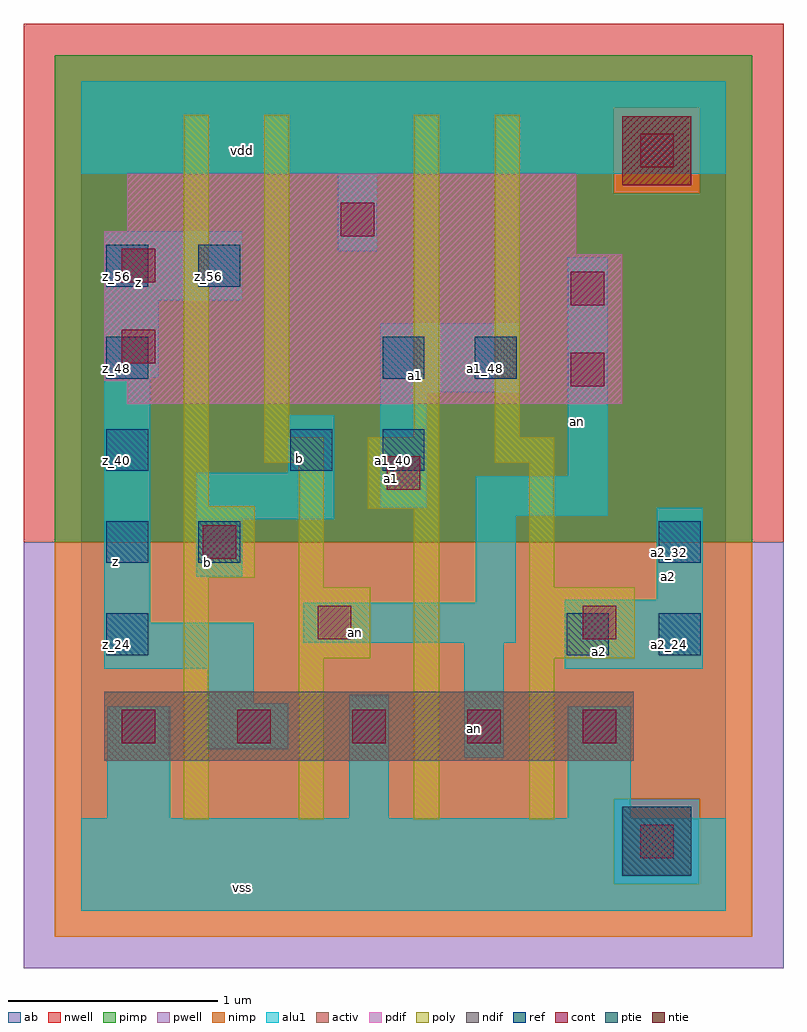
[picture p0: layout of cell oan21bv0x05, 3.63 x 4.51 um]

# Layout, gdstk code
import gdstk
lib = gdstk.Library(unit=1e-6, precision=2.5e-09)
def R(c, l, rs):  # rectangles x0, y0, x1, y1
    for r in rs: c.add(gdstk.rectangle(r[:2], r[2:], *l))
def A(c, l, x, y, w, h, nx, ny, dx, dy):  # array of equal rectangles
    R(c, l, [(x+i*dx, y+j*dy, x+i*dx+w, y+j*dy+h) for i in range(nx) for j in range(ny)])
ndif = (3, 0)
pdif = (4, 0)
ntie = (5, 0)
ptie = (6, 0)
ref = (24, 0)
cont = (25, 0)
pwell = (41, 0)
nwell = (42, 0)
activ = (43, 0)
pimp = (44, 0)
nimp = (45, 0)
poly = (46, 0)
alu1 = (49, 0)
ab = (63, 0)

oan21bv0x05 = lib.new_cell('oan21bv0x05')
R(oan21bv0x05, ndif, [(0.11,0.715,2.64,1.045)])
R(oan21bv0x05, pdif, [(0.22,2.42,2.585,2.53), (0.11,2.53,2.585,3.135), (0.11,3.135,2.365,3.245), (0.22,3.245,2.365,3.52)])
R(oan21bv0x05, ntie, [(2.585,3.465,2.915,3.795)])
R(oan21bv0x05, ptie, [(2.585,0.165,2.915,0.495)])
A(oan21bv0x05, ref, 0.12, 1.22, 0.2, 0.2, 1, 5, 0, 0.44)
R(oan21bv0x05, ref, [(2.32,1.22,2.52,1.42), (2.76,1.22,2.96,1.42), (0.56,1.66,0.76,1.86), (2.76,1.66,2.96,1.86), (1,2.1,1.2,2.3), (1.44,2.1,1.64,2.3), (1.44,2.54,1.64,2.74), (1.88,2.54,2.08,2.74), (0.56,2.98,0.76,3.18)])
A(oan21bv0x05, cont, 0.195, 0.8, 0.16, 0.16, 5, 1, 0.55, 0)
R(oan21bv0x05, cont, [(2.67,0.25,2.83,0.41), (1.13,1.295,1.29,1.455), (2.395,1.295,2.555,1.455), (0.58,1.68,0.74,1.84), (1.46,2.01,1.62,2.17), (2.34,2.505,2.5,2.665), (0.195,2.615,0.355,2.775), (2.34,2.89,2.5,3.05), (0.195,3,0.355,3.16), (1.24,3.22,1.4,3.38), (2.67,3.55,2.83,3.71)])
R(oan21bv0x05, pwell, [(-0.275,-0.275,3.355,1.76)])
R(oan21bv0x05, nwell, [(-0.275,1.76,3.355,4.235)])
R(oan21bv0x05, activ, [(2.585,0.165,2.915,0.495), (0.11,0.715,2.64,1.045), (0.22,2.42,2.585,2.53), (0.11,2.53,2.585,3.135), (0.11,3.135,2.365,3.245), (0.22,3.245,2.365,3.52), (2.585,3.465,2.915,3.795)])
R(oan21bv0x05, pimp, [(2.545,0.125,2.955,0.535), (-0.125,1.76,3.205,3.425), (-0.125,3.425,2.545,3.835), (2.955,3.425,3.205,3.835), (-0.125,3.835,3.205,4.085)])
R(oan21bv0x05, nimp, [(-0.125,-0.125,3.205,0.125), (-0.125,0.125,2.545,0.535), (2.955,0.125,3.205,0.535), (-0.125,0.535,3.205,1.76), (2.545,3.425,2.955,3.835)])
R(oan21bv0x05, poly, [(0.49,0.435,0.61,1.59), (1.04,0.435,1.16,1.205), (1.59,0.435,1.71,1.92), (2.14,0.435,2.26,1.205), (1.04,1.205,1.38,1.545), (2.14,1.205,2.645,1.545), (1.04,1.545,1.16,2.14), (2.14,1.545,2.26,2.14), (0.49,1.59,0.83,1.93), (1.37,1.92,1.71,2.26), (0.49,1.93,0.61,3.8), (0.875,2.14,1.16,2.26), (1.975,2.14,2.26,2.26), (0.875,2.26,0.995,3.8), (1.59,2.26,1.71,3.8), (1.975,2.26,2.095,3.8)])
R(oan21bv0x05, alu1, [(0,0,3.08,0.44), (0.125,0.44,0.425,0.975), (1.28,0.44,1.47,1.03), (2.325,0.44,2.625,0.975), (1.83,0.73,2.02,1.28), (0.605,0.77,0.99,0.99), (0.605,0.99,0.825,1.155), (0.11,1.155,0.825,1.375), (2.31,1.155,2.97,1.485), (1.06,1.28,2.075,1.47), (0.11,1.375,0.33,2.545), (1.885,1.47,2.075,1.885), (2.75,1.485,2.97,1.925), (0.55,1.595,0.77,1.87), (0.55,1.87,1.21,2.09), (1.885,1.885,2.515,2.075), (1.43,1.925,1.65,2.475), (2.325,2.075,2.515,3.12), (0.99,2.09,1.21,2.365), (1.43,2.475,2.09,2.805), (0.11,2.545,0.37,2.915), (0.11,2.915,0.77,3.245), (1.225,3.15,1.415,3.52), (0,3.52,3.08,3.96)])
R(oan21bv0x05, ab, [(0,0,3.08,3.96)])
oan21bv0x05.add(gdstk.Label('vss', (0.77,0.11), layer=49, texttype=0))
oan21bv0x05.add(gdstk.Label('a2', (2.475,1.2375), layer=49, texttype=0))
oan21bv0x05.add(gdstk.Label('an', (1.8775,0.8675), layer=49, texttype=0))
oan21bv0x05.add(gdstk.Label('an', (1.3125,1.3275), layer=49, texttype=0))
oan21bv0x05.add(gdstk.Label('a2', (2.805,1.595), layer=49, texttype=0))
oan21bv0x05.add(gdstk.Label('b', (0.605,1.6625), layer=49, texttype=0))
oan21bv0x05.add(gdstk.Label('an', (2.3725,2.335), layer=49, texttype=0))
oan21bv0x05.add(gdstk.Label('a1', (1.485,2.0625), layer=49, texttype=0))
oan21bv0x05.add(gdstk.Label('b', (1.045,2.1575), layer=49, texttype=0))
oan21bv0x05.add(gdstk.Label('a1', (1.595,2.5575), layer=49, texttype=0))
oan21bv0x05.add(gdstk.Label('z', (0.165,1.6675), layer=49, texttype=0))
oan21bv0x05.add(gdstk.Label('z', (0.275,2.9975), layer=49, texttype=0))
oan21bv0x05.add(gdstk.Label('vdd', (0.77,3.63), layer=49, texttype=0))
oan21bv0x05.add(gdstk.Label('a2_24', (2.37,1.27), layer=24, texttype=0))
oan21bv0x05.add(gdstk.Label('a2_24', (2.81,1.27), layer=24, texttype=0))
oan21bv0x05.add(gdstk.Label('z_56', (0.61,3.03), layer=24, texttype=0))
oan21bv0x05.add(gdstk.Label('z_56', (0.17,3.03), layer=24, texttype=0))
oan21bv0x05.add(gdstk.Label('z_48', (0.17,2.59), layer=24, texttype=0))
oan21bv0x05.add(gdstk.Label('b_40', (1.05,2.15), layer=24, texttype=0))
oan21bv0x05.add(gdstk.Label('a1_40', (1.49,2.15), layer=24, texttype=0))
oan21bv0x05.add(gdstk.Label('a1_48', (1.93,2.59), layer=24, texttype=0))
oan21bv0x05.add(gdstk.Label('a1_48', (1.49,2.59), layer=24, texttype=0))
oan21bv0x05.add(gdstk.Label('z_40', (0.17,2.15), layer=24, texttype=0))
oan21bv0x05.add(gdstk.Label('z_32', (0.17,1.71), layer=24, texttype=0))
oan21bv0x05.add(gdstk.Label('z_24', (0.17,1.27), layer=24, texttype=0))
oan21bv0x05.add(gdstk.Label('b_32', (0.61,1.71), layer=24, texttype=0))
oan21bv0x05.add(gdstk.Label('a2_32', (2.81,1.71), layer=24, texttype=0))

lib.write_gds('oan21bv0x05.gds')
